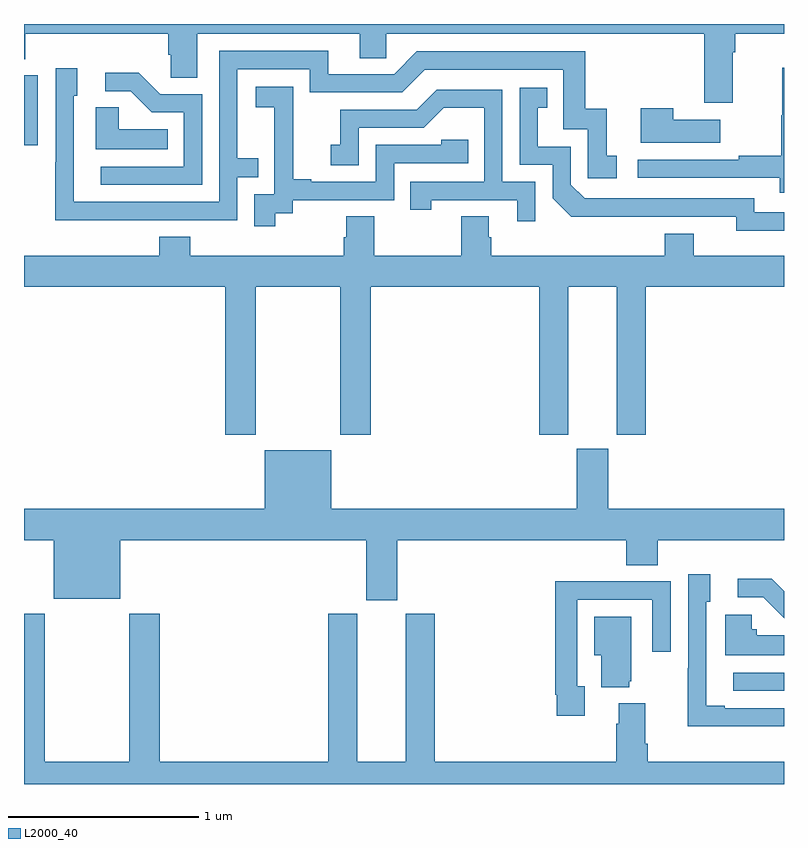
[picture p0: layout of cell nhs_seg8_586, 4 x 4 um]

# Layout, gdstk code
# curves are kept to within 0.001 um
import gdstk
lib = gdstk.Library(unit=1e-6, precision=1e-09)
def R(c, l, rs):  # rectangles x0, y0, x1, y1
    for r in rs: c.add(gdstk.rectangle(r[:2], r[2:], *l))
def P(c, l, *ps):  # polygons
    for p in ps: c.add(gdstk.Polygon(p, *l))
L2000_40 = (2000, 40)

nhs_seg8_586 = lib.new_cell('nhs_seg8_586')
R(nhs_seg8_586, L2000_40, [(152.733,1098.39,153,1098.486), (149,1101.261,149.073,1101.63)])
P(nhs_seg8_586, L2000_40, [(152.731,1101.752),(152.744,1101.752),(152.744,1101.848),(153,1101.848),(153,1101.9),(149,1101.9),(149,1101.715),(149.006,1101.715),(149.006,1101.848),(149.759,1101.848),(149.759,1101.739),(149.772,1101.739),(149.772,1101.616),(149.911,1101.616),(149.911,1101.848),(150.767,1101.848),(150.767,1101.721),(150.906,1101.721),(150.906,1101.848),(152.579,1101.848),(152.579,1101.486),(152.731,1101.486)],
  [(149.627,1100.868),(150.123,1100.868),(150.123,1101.093),(150.233,1101.093),(150.233,1101.194),(150.123,1101.194),(150.123,1101.663),(150.504,1101.663),(150.504,1101.54),(150.99,1101.54),(151.11,1101.66),(151.839,1101.66),(151.839,1101.345),(151.968,1101.345),(151.968,1101.087),(152.119,1101.087),(152.119,1101.207),(152.066,1101.207),(152.066,1101.454),(151.955,1101.454),(151.955,1101.756),(151.068,1101.756),(150.948,1101.636),(150.601,1101.636),(150.601,1101.759),(150.027,1101.759),(150.027,1100.964),(149.262,1100.964),(149.262,1101.522),(149.281,1101.522),(149.281,1101.667),(149.166,1101.667),(149.166,1101.173),(149.164,1101.173),(149.164,1100.867)],
  [(153,1101.67),(152.992,1101.67),(152.992,1101.42),(152.985,1101.42),(152.985,1101.206),(152.761,1101.206),(152.761,1101.186),(152.229,1101.186),(152.229,1101.09),(152.977,1101.09),(152.977,1101.012),(153,1101.012)],
  [(149.937,1101.531),(149.718,1101.531),(149.605,1101.644),(149.427,1101.644),(149.427,1101.546),(149.561,1101.546),(149.672,1101.435),(149.841,1101.435),(149.841,1101.15),(149.403,1101.15),(149.403,1101.054),(149.937,1101.054)],
  [(150.322,1100.905),(150.414,1100.905),(150.414,1100.973),(150.948,1100.973),(150.948,1101.168),(151.337,1101.168),(151.337,1101.291),(151.197,1101.291),(151.197,1101.264),(150.852,1101.264),(150.852,1101.069),(150.511,1101.069),(150.511,1101.082),(150.416,1101.082),(150.416,1101.365),(150.417,1101.365),(150.417,1101.571),(150.219,1101.571),(150.219,1101.461),(150.317,1101.461),(150.317,1101.233),(150.318,1101.233),(150.318,1101.003),(150.213,1101.003),(150.213,1100.835),(150.322,1100.835)],
  [(153,1100.91),(152.844,1100.91),(152.844,1100.982),(151.95,1100.982),(151.878,1101.054),(151.878,1101.255),(151.705,1101.255),(151.705,1101.459),(151.754,1101.459),(151.754,1101.565),(151.608,1101.565),(151.608,1101.159),(151.782,1101.159),(151.782,1100.982),(151.88,1100.885),(152.748,1100.886),(152.748,1100.813),(153,1100.813)],
  [(151.692,1101.069),(151.518,1101.069),(151.518,1101.555),(151.172,1101.555),(151.067,1101.45),(150.664,1101.45),(150.664,1101.265),(150.615,1101.265),(150.615,1101.156),(150.762,1101.156),(150.762,1101.354),(151.104,1101.354),(151.208,1101.458),(151.422,1101.458),(151.422,1101.069),(151.033,1101.069),(151.033,1100.922),(151.144,1100.922),(151.144,1100.973),(151.595,1100.973),(151.595,1100.862),(151.692,1100.862)],
  [(149.756,1101.346),(149.499,1101.346),(149.499,1101.461),(149.378,1101.461),(149.378,1101.242),(149.756,1101.242)],
  [(152.665,1101.397),(152.417,1101.397),(152.417,1101.457),(152.246,1101.457),(152.246,1101.275),(152.665,1101.275)],
  [(150.824,1100.516),(151.712,1100.516),(151.712,1099.737),(151.864,1099.737),(151.864,1100.516),(152.12,1100.516),(152.12,1099.737),(152.273,1099.737),(152.273,1100.516),(153,1100.516),(153,1100.68),(152.524,1100.68),(152.524,1100.797),(152.372,1100.797),(152.372,1100.68),(151.46,1100.68),(151.46,1100.778),(151.447,1100.778),(151.447,1100.888),(151.3,1100.888),(151.3,1100.68),(150.843,1100.68),(150.843,1100.888),(150.695,1100.888),(150.695,1100.778),(150.683,1100.778),(150.683,1100.68),(149.876,1100.68),(149.876,1100.779),(149.711,1100.779),(149.711,1100.68),(149,1100.68),(149,1100.516),(150.059,1100.516),(150.059,1099.737),(150.219,1099.737),(150.219,1100.516),(150.664,1100.516),(150.664,1099.737),(150.824,1099.737)],
  [(150.964,1099.184),(152.171,1099.184),(152.171,1099.051),(152.336,1099.051),(152.336,1099.184),(153,1099.184),(153,1099.348),(152.074,1099.348),(152.074,1099.665),(151.91,1099.665),(151.91,1099.348),(150.616,1099.348),(150.616,1099.657),(150.266,1099.657),(150.266,1099.348),(149,1099.348),(149,1099.184),(149.156,1099.184),(149.156,1098.875),(149.506,1098.875),(149.506,1099.184),(150.8,1099.184),(150.8,1098.867),(150.964,1098.867)],
  [(152.957,1098.204),(153,1098.204),(153,1098.3),(152.689,1098.3),(152.689,1098.313),(152.592,1098.313),(152.592,1098.858),(152.611,1098.858),(152.611,1099.003),(152.496,1099.003),(152.496,1098.509),(152.494,1098.509),(152.494,1098.203),(152.957,1098.203)],
  [(153,1098.915),(152.935,1098.98),(152.757,1098.98),(152.757,1098.882),(152.891,1098.882),(153,1098.773)],
  [(151.951,1098.414),(151.911,1098.414),(151.911,1098.87),(152.307,1098.87),(152.307,1098.597),(152.403,1098.597),(152.403,1098.966),(152.087,1098.966),(152.087,1098.968),(151.795,1098.968),(151.795,1098.37),(151.803,1098.37),(151.803,1098.258),(151.951,1098.258)],
  [(151.01,1098.795),(151.01,1098.016),(150.754,1098.016),(150.754,1098.795),(150.602,1098.795),(150.602,1098.016),(149.714,1098.016),(149.714,1098.796),(149.554,1098.796),(149.554,1098.016),(149.109,1098.016),(149.109,1098.796),(149,1098.796),(149,1097.9),(153,1097.9),(153,1098.016),(152.282,1098.016),(152.282,1098.112),(152.269,1098.112),(152.269,1098.325),(152.129,1098.325),(152.129,1098.218),(152.117,1098.218),(152.117,1098.016),(151.163,1098.016),(151.163,1098.795)],
  [(153,1098.682),(152.856,1098.682),(152.856,1098.714),(152.829,1098.714),(152.829,1098.79),(152.69,1098.79),(152.69,1098.578),(153,1098.578)],
  [(152.186,1098.441),(152.197,1098.441),(152.197,1098.781),(152,1098.781),(152,1098.578),(152.039,1098.578),(152.039,1098.41),(152.186,1098.41)])

lib.write_gds('nhs_seg8_586.gds')
